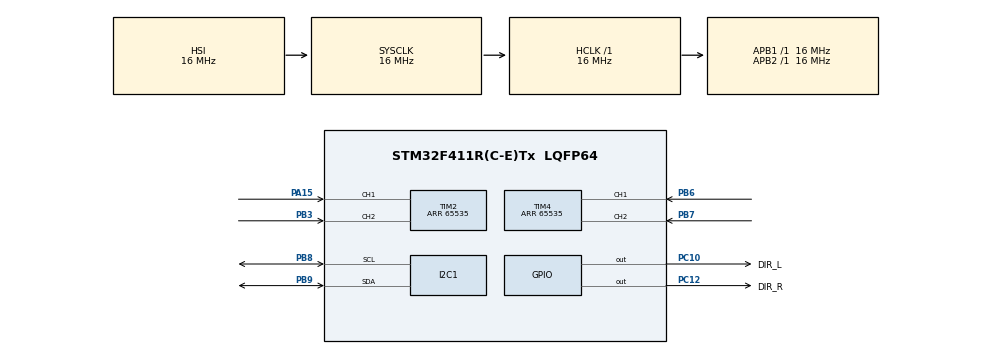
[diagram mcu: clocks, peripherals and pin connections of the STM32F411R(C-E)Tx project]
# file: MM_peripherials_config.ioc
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Mcu.Family=STM32F4
Mcu.Name=STM32F411R(C-E)Tx
Mcu.Package=LQFP64
NVIC.PriorityGroup=NVIC_PRIORITYGROUP_4
PA15.GPIO_PuPd=GPIO_PULLUP
PA15.Signal=S_TIM2_CH1_ETR
PB3.GPIO_PuPd=GPIO_PULLUP
PB3.Signal=S_TIM2_CH2
PB6.GPIO_PuPd=GPIO_PULLUP
PB6.Signal=S_TIM4_CH1
PB7.GPIO_PuPd=GPIO_PULLUP
PB7.Signal=S_TIM4_CH2
PB8.Mode=I2C
PB8.Signal=I2C1_SCL
PB9.Mode=I2C
PB9.Signal=I2C1_SDA
PC10.GPIO_Label=DIR_L
PC10.Signal=GPIO_Output
PC12.GPIO_Label=DIR_R
PC12.Signal=GPIO_Output
ProjectManager.HeapSize=0x200
ProjectManager.StackSize=0x400
ProjectManager.TargetToolchain=STM32CubeIDE
RCC.AHBFreq_Value=16000000
RCC.APB1Freq_Value=16000000
RCC.APB2Freq_Value=16000000
RCC.CortexFreq_Value=16000000
RCC.HSE_VALUE=25000000
RCC.HSI_VALUE=16000000
RCC.LSE_VALUE=32768
RCC.SYSCLKFreq_VALUE=16000000
RCC.VCOOutputFreq_Value=192000000
SH.S_TIM2_CH1_ETR.0=TIM2_CH1,Encoder_Interface
SH.S_TIM2_CH2.0=TIM2_CH2,Encoder_Interface
SH.S_TIM4_CH1.0=TIM4_CH1,Encoder_Interface
SH.S_TIM4_CH2.0=TIM4_CH2,Encoder_Interface
TIM2.EncoderMode=TIM_ENCODERMODE_TI12
TIM2.IC1Filter=15
TIM2.IC2Filter=15
TIM2.Period=65535
TIM4.EncoderMode=TIM_ENCODERMODE_TI12
TIM4.IC1Filter=15
TIM4.IC2Filter=15
TIM4.Period=65535
board=custom

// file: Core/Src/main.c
/* USER CODE BEGIN Header */
/**
  ******************************************************************************
  * @file           : main.c
  * @brief          : Main program body
  ******************************************************************************
  * @attention
  *
  * <h2><center>&copy; Copyright (c) 2020 STMicroelectronics.
  * All rights reserved.</center></h2>
  *
  * This software component is licensed by ST under BSD 3-Clause license,
  * the "License"; You may not use this file except in compliance with the
  * License. You may obtain a copy of the License at:
  *                        opensource.org/licenses/BSD-3-Clause
  *
  ******************************************************************************
  */
/* USER CODE END Header */

#include "main.h"

/* USER CODE BEGIN Includes */
#include "../../MPU6050/mpu6050.h"
#include "move.h"
#include "encoders.h"
/* USER CODE END Includes */

I2C_HandleTypeDef hi2c1;

TIM_HandleTypeDef htim2;
TIM_HandleTypeDef htim4;

/* USER CODE BEGIN PV */
volatile uint16_t pulse_count_encR; // Licznik impulsow
volatile uint16_t pulse_count_encL; // Licznik impulsow
float ax, ay, az, gx, gy, gz, temperature;
/* USER CODE END PV */

void SystemClock_Config(void);
static void MX_GPIO_Init(void);
static void MX_I2C1_Init(void);
static void MX_TIM2_Init(void);
static void MX_TIM4_Init(void);

int main(void)
{

  /* MCU Configuration--------------------------------------------------------*/

  /* Reset of all peripherals, Initializes the Flash interface and the Systick. */
  HAL_Init();

  /* USER CODE BEGIN Init */
  MPU6050_Init(&hi2c1);

  MPU6050_SetInterruptMode(MPU6050_INTMODE_ACTIVEHIGH);
  MPU6050_SetInterruptDrive(MPU6050_INTDRV_PUSHPULL);
  MPU6050_SetInterruptLatch(MPU6050_INTLATCH_WAITCLEAR);
  MPU6050_SetInterruptLatchClear(MPU6050_INTCLEAR_STATUSREAD);

  MPU6050_SetIntEnableRegister(0);
  /* USER CODE END Init */

  /* Configure the system clock */
  SystemClock_Config();

  /* Initialize all configured peripherals */
  MX_GPIO_Init();
  MX_I2C1_Init();
  MX_TIM2_Init();
  MX_TIM4_Init();
  /* USER CODE BEGIN 2 */
  int EncValR;
  int EncValL;
  HAL_TIM_Encoder_Start(&htim2, TIM_CHANNEL_ALL);
  HAL_TIM_Encoder_Start(&htim4, TIM_CHANNEL_ALL);

  encRead();

  	turn_left();
  	HAL_Delay(800);
  	turn_left();
  	HAL_Delay(800);
  	turn_right();
  	HAL_Delay(800);
  	turn_right();

  	HAL_Delay(800);

  	setMoveR(1,0);
  	setMoveL(1,0);

  /* USER CODE END 2 */

  /* Infinite loop */
  /* USER CODE BEGIN WHILE */
  while (1)
  {

	  pulse_count_encL = TIM2->CNT; // przepisanie wartosci z rejestru timera 2 do zmiennej
	  EncValR = pulse_count_encR;
	  pulse_count_encR = TIM4->CNT; // przepisanie wartosci z rejestru timera 4 do zmiennej
	  EncValL = pulse_count_encR;

	  encRead();

	  MPU6050_GetAccelerometerScaled(&ax, &ay, &az);
	  MPU6050_GetGyroscopeScaled(&gx, &gy, &gz);
	  temperature = MPU6050_GetTemperatureCelsius();
	  HAL_Delay(100);
    /* USER CODE END WHILE */

  }
}

void SystemClock_Config(void)
{
  RCC_OscInitTypeDef RCC_OscInitStruct = {0};
  RCC_ClkInitTypeDef RCC_ClkInitStruct = {0};

  /** Configure the main internal regulator output voltage
  */
  __HAL_RCC_PWR_CLK_ENABLE();
  __HAL_PWR_VOLTAGESCALING_CONFIG(PWR_REGULATOR_VOLTAGE_SCALE1);
  /** Initializes the CPU, AHB and APB busses clocks
  */
  RCC_OscInitStruct.OscillatorType = RCC_OSCILLATORTYPE_HSI;
  RCC_OscInitStruct.HSIState = RCC_HSI_ON;
  RCC_OscInitStruct.HSICalibrationValue = RCC_HSICALIBRATION_DEFAULT;
  RCC_OscInitStruct.PLL.PLLState = RCC_PLL_NONE;
  if (HAL_RCC_OscConfig(&RCC_OscInitStruct) != HAL_OK)
  {
    Error_Handler();
  }
  /** Initializes the CPU, AHB and APB busses clocks
  */
  RCC_ClkInitStruct.ClockType = RCC_CLOCKTYPE_HCLK|RCC_CLOCKTYPE_SYSCLK
                              |RCC_CLOCKTYPE_PCLK1|RCC_CLOCKTYPE_PCLK2;
  RCC_ClkInitStruct.SYSCLKSource = RCC_SYSCLKSOURCE_HSI;
  RCC_ClkInitStruct.AHBCLKDivider = RCC_SYSCLK_DIV1;
  RCC_ClkInitStruct.APB1CLKDivider = RCC_HCLK_DIV1;
  RCC_ClkInitStruct.APB2CLKDivider = RCC_HCLK_DIV1;

  if (HAL_RCC_ClockConfig(&RCC_ClkInitStruct, FLASH_LATENCY_0) != HAL_OK)
  {
    Error_Handler();
  }
}

static void MX_I2C1_Init(void)
{

  hi2c1.Instance = I2C1;
  hi2c1.Init.ClockSpeed = 100000;
  hi2c1.Init.DutyCycle = I2C_DUTYCYCLE_2;
  hi2c1.Init.OwnAddress1 = 0;
  hi2c1.Init.AddressingMode = I2C_ADDRESSINGMODE_7BIT;
  hi2c1.Init.DualAddressMode = I2C_DUALADDRESS_DISABLE;
  hi2c1.Init.OwnAddress2 = 0;
  hi2c1.Init.GeneralCallMode = I2C_GENERALCALL_DISABLE;
  hi2c1.Init.NoStretchMode = I2C_NOSTRETCH_DISABLE;
  if (HAL_I2C_Init(&hi2c1) != HAL_OK)
  {
    Error_Handler();
  }

}

static void MX_TIM2_Init(void)
{

  TIM_Encoder_InitTypeDef sConfig = {0};
  TIM_MasterConfigTypeDef sMasterConfig = {0};

  htim2.Instance = TIM2;
  htim2.Init.Prescaler = 0;
  htim2.Init.CounterMode = TIM_COUNTERMODE_UP;
  htim2.Init.Period = 65535;
  htim2.Init.ClockDivision = TIM_CLOCKDIVISION_DIV1;
  htim2.Init.AutoReloadPreload = TIM_AUTORELOAD_PRELOAD_DISABLE;
  sConfig.EncoderMode = TIM_ENCODERMODE_TI12;
  sConfig.IC1Polarity = TIM_ICPOLARITY_RISING;
  sConfig.IC1Selection = TIM_ICSELECTION_DIRECTTI;
  sConfig.IC1Prescaler = TIM_ICPSC_DIV1;
  sConfig.IC1Filter = 15;
  sConfig.IC2Polarity = TIM_ICPOLARITY_RISING;
  sConfig.IC2Selection = TIM_ICSELECTION_DIRECTTI;
  sConfig.IC2Prescaler = TIM_ICPSC_DIV1;
  sConfig.IC2Filter = 15;
  if (HAL_TIM_Encoder_Init(&htim2, &sConfig) != HAL_OK)
  {
    Error_Handler();
  }
  sMasterConfig.MasterOutputTrigger = TIM_TRGO_RESET;
  sMasterConfig.MasterSlaveMode = TIM_MASTERSLAVEMODE_DISABLE;
  if (HAL_TIMEx_MasterConfigSynchronization(&htim2, &sMasterConfig) != HAL_OK)
  {
    Error_Handler();
  }

}

static void MX_TIM4_Init(void)
{

  TIM_Encoder_InitTypeDef sConfig = {0};
  TIM_MasterConfigTypeDef sMasterConfig = {0};

  htim4.Instance = TIM4;
  htim4.Init.Prescaler = 0;
  htim4.Init.CounterMode = TIM_COUNTERMODE_UP;
  htim4.Init.Period = 65535;
  htim4.Init.ClockDivision = TIM_CLOCKDIVISION_DIV1;
  htim4.Init.AutoReloadPreload = TIM_AUTORELOAD_PRELOAD_DISABLE;
  sConfig.EncoderMode = TIM_ENCODERMODE_TI12;
  sConfig.IC1Polarity = TIM_ICPOLARITY_RISING;
  sConfig.IC1Selection = TIM_ICSELECTION_DIRECTTI;
  sConfig.IC1Prescaler = TIM_ICPSC_DIV1;
  sConfig.IC1Filter = 15;
  sConfig.IC2Polarity = TIM_ICPOLARITY_RISING;
  sConfig.IC2Selection = TIM_ICSELECTION_DIRECTTI;
  sConfig.IC2Prescaler = TIM_ICPSC_DIV1;
  sConfig.IC2Filter = 15;
  if (HAL_TIM_Encoder_Init(&htim4, &sConfig) != HAL_OK)
  {
    Error_Handler();
  }
  sMasterConfig.MasterOutputTrigger = TIM_TRGO_RESET;
  sMasterConfig.MasterSlaveMode = TIM_MASTERSLAVEMODE_DISABLE;
  if (HAL_TIMEx_MasterConfigSynchronization(&htim4, &sMasterConfig) != HAL_OK)
  {
    Error_Handler();
  }

}

static void MX_GPIO_Init(void)
{
  GPIO_InitTypeDef GPIO_InitStruct = {0};

  /* GPIO Ports Clock Enable */
  __HAL_RCC_GPIOA_CLK_ENABLE();
  __HAL_RCC_GPIOC_CLK_ENABLE();
  __HAL_RCC_GPIOB_CLK_ENABLE();

  /*Configure GPIO pin Output Level */
  HAL_GPIO_WritePin(GPIOC, DIR_L_Pin|DIR_R_Pin, GPIO_PIN_RESET);

  /*Configure GPIO pins : DIR_L_Pin DIR_R_Pin */
  GPIO_InitStruct.Pin = DIR_L_Pin|DIR_R_Pin;
  GPIO_InitStruct.Mode = GPIO_MODE_OUTPUT_PP;
  GPIO_InitStruct.Pull = GPIO_NOPULL;
  GPIO_InitStruct.Speed = GPIO_SPEED_FREQ_LOW;
  HAL_GPIO_Init(GPIOC, &GPIO_InitStruct);

}

void Error_Handler(void)
{
}

/************************ (C) COPYRIGHT STMicroelectronics *****END OF FILE****/
